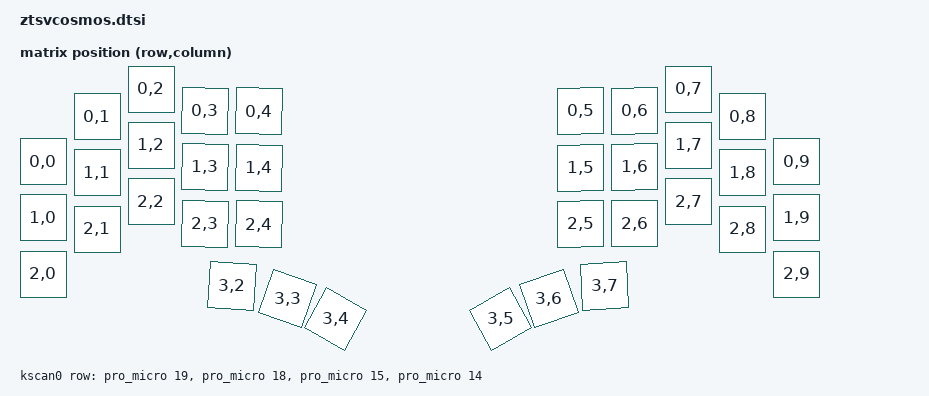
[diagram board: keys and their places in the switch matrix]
#include <physical_layouts.dtsi>
#include <dt-bindings/zmk/matrix_transform.h>

/ {
    chosen {
        zmk,physical-layout = &physical_layout0;
    };

    default_transform: keymap_transform_0 {
        compatible = "zmk,matrix-transform";
        columns = <10>;
        rows = <4>;
        map = <
RC(0,0) RC(0,1) RC(0,2) RC(0,3) RC(0,4)  RC(0,5) RC(0,6) RC(0,7) RC(0,8) RC(0,9)
RC(1,0) RC(1,1) RC(1,2) RC(1,3) RC(1,4)  RC(1,5) RC(1,6) RC(1,7) RC(1,8) RC(1,9)
RC(2,0) RC(2,1) RC(2,2) RC(2,3) RC(2,4)  RC(2,5) RC(2,6) RC(2,7) RC(2,8) RC(2,9)
                RC(3,2) RC(3,3) RC(3,4)  RC(3,5) RC(3,6) RC(3,7)
        >;
    };

    kscan0: kscan {
        compatible = "zmk,kscan-gpio-matrix";
        wakeup-source;

        diode-direction = "col2row";
        row-gpios
            = <&pro_micro 19 (GPIO_ACTIVE_HIGH | GPIO_PULL_DOWN)>
            , <&pro_micro 18 (GPIO_ACTIVE_HIGH | GPIO_PULL_DOWN)>
            , <&pro_micro 15 (GPIO_ACTIVE_HIGH | GPIO_PULL_DOWN)>
            , <&pro_micro 14 (GPIO_ACTIVE_HIGH | GPIO_PULL_DOWN)>
            ;
    };

    physical_layout0: physical_layout {
        compatible = "zmk,physical-layout";
        display-name = "ztsv cosmos 3x5+3";
        transform = <&default_transform>;
        kscan = <&kscan0>;

        keys  //                     w   h    x    y     rot    rx    ry
            = <&key_physical_attrs 100 100    0  145       0     0     0>
            , <&key_physical_attrs 100 100  108   55       0     0     0>
            , <&key_physical_attrs 100 100  216    0       0     0     0>
            , <&key_physical_attrs 100 100  324   44     100   360    94>
            , <&key_physical_attrs 100 100  432   44     100   455    94>
            , <&key_physical_attrs 100 100 1075   44  (-100)  1145    94>
            , <&key_physical_attrs 100 100 1183   44  (-100)  1241    94>
            , <&key_physical_attrs 100 100 1291    0       0     0     0>
            , <&key_physical_attrs 100 100 1399   55       0     0     0>
            , <&key_physical_attrs 100 100 1507  145       0     0     0>
            , <&key_physical_attrs 100 100    0  257       0     0     0>
            , <&key_physical_attrs 100 100  108  167       0     0     0>
            , <&key_physical_attrs 100 100  216  112       0     0     0>
            , <&key_physical_attrs 100 100  324  156     100   366   206>
            , <&key_physical_attrs 100 100  432  157     100   462   207>
            , <&key_physical_attrs 100 100 1075  157  (-100)  1138   207>
            , <&key_physical_attrs 100 100 1183  156  (-100)  1234   206>
            , <&key_physical_attrs 100 100 1291  112       0     0     0>
            , <&key_physical_attrs 100 100 1399  167       0     0     0>
            , <&key_physical_attrs 100 100 1507  257       0     0     0>
            , <&key_physical_attrs 100 100    0  370       0     0     0>
            , <&key_physical_attrs 100 100  108  280       0     0     0>
            , <&key_physical_attrs 100 100  216  225       0     0     0>
            , <&key_physical_attrs 100 100  324  269     100   360   319>
            , <&key_physical_attrs 100 100  432  270     100   455   320>
            , <&key_physical_attrs 100 100 1075  270  (-100)  1146   320>
            , <&key_physical_attrs 100 100 1183  269  (-100)  1241   319>
            , <&key_physical_attrs 100 100 1291  225       0     0     0>
            , <&key_physical_attrs 100 100 1399  280       0     0     0>
            , <&key_physical_attrs 100 100 1507  370       0     0     0>
            , <&key_physical_attrs 100 100  378  394     300   428   444>
            , <&key_physical_attrs 100 100  489  419    1900   539   469>
            , <&key_physical_attrs 100 100  585  460    2900   635   510>
            , <&key_physical_attrs 100 100  915  460 (-2900)   965   510>
            , <&key_physical_attrs 100 100 1012  419 (-1900)  1062   469>
            , <&key_physical_attrs 100 100 1123  394  (-300)  1173   444>
            ;
    };
};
